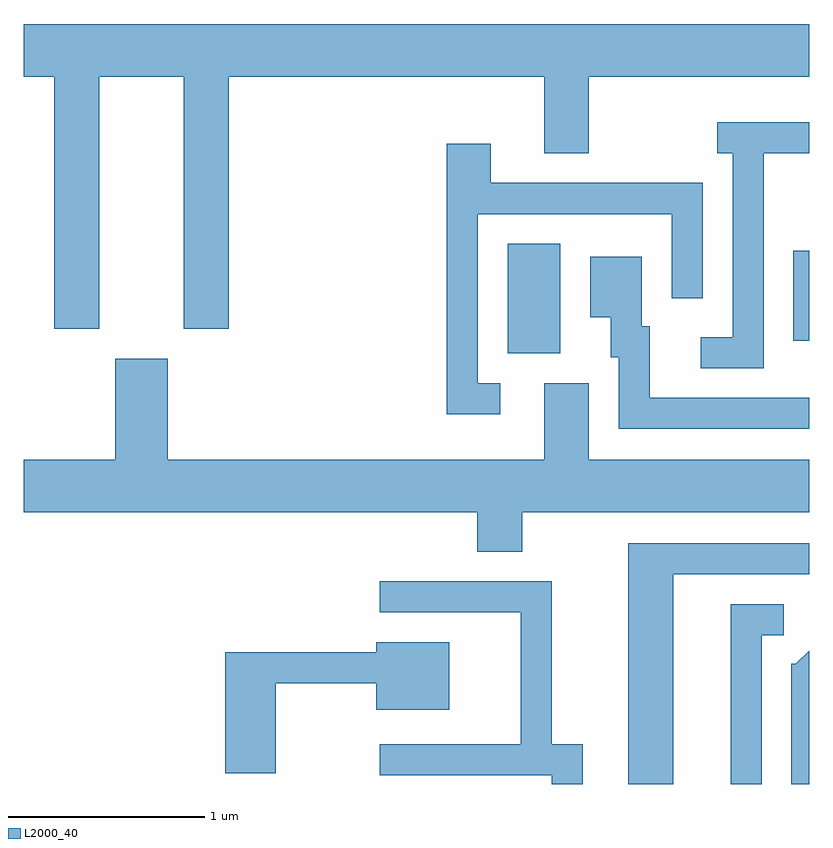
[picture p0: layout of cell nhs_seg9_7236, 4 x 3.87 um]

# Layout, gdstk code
import gdstk
lib = gdstk.Library(unit=1e-6, precision=1e-09)
def R(c, l, rs):  # rectangles x0, y0, x1, y1
    for r in rs: c.add(gdstk.rectangle(r[:2], r[2:], *l))
def P(c, l, *ps):  # polygons
    for p in ps: c.add(gdstk.Polygon(p, *l))
L2000_40 = (2000, 40)

nhs_seg9_7236 = lib.new_cell('nhs_seg9_7236')
R(nhs_seg9_7236, L2000_40, [(402.076,1992.626,402.344,1993.184), (403.531,1992.691,403.611,1993.149)])
P(nhs_seg9_7236, L2000_40, [(399.994,1994.036),(400.426,1994.036),(400.426,1992.751),(400.654,1992.751),(400.654,1994.036),(402.261,1994.036),(402.261,1993.646),(402.489,1993.646),(402.489,1994.036),(403.611,1994.036),(403.611,1994.304),(399.611,1994.304),(399.611,1994.036),(399.766,1994.036),(399.766,1992.751),(399.994,1992.751)],
  [(403.379,1993.646),(403.611,1993.646),(403.611,1993.804),(403.143,1993.804),(403.143,1993.646),(403.221,1993.646),(403.221,1992.709),(403.058,1992.709),(403.058,1992.551),(403.379,1992.551)],
  [(402.038,1992.474),(401.924,1992.474),(401.924,1993.336),(402.911,1993.336),(402.911,1992.908),(403.069,1992.908),(403.069,1993.494),(401.989,1993.494),(401.989,1993.694),(401.766,1993.694),(401.766,1992.316),(402.038,1992.316)],
  [(403.611,1992.399),(402.799,1992.399),(402.799,1992.764),(402.759,1992.764),(402.759,1993.119),(402.496,1993.119),(402.496,1992.811),(402.601,1992.811),(402.601,1992.606),(402.641,1992.606),(402.641,1992.241),(403.611,1992.241)],
  [(402.149,1991.816),(403.611,1991.816),(403.611,1992.084),(402.489,1992.084),(402.489,1992.474),(402.261,1992.474),(402.261,1992.084),(400.344,1992.084),(400.344,1992.599),(400.076,1992.599),(400.076,1992.084),(399.611,1992.084),(399.611,1991.816),(401.921,1991.816),(401.921,1991.616),(402.149,1991.616)],
  [(402.919,1991.501),(403.611,1991.501),(403.611,1991.659),(402.691,1991.659),(402.691,1990.432),(402.919,1990.432)],
  [(402.459,1990.634),(402.299,1990.634),(402.299,1991.464),(401.423,1991.464),(401.423,1991.306),(402.141,1991.306),(402.141,1990.634),(401.423,1990.634),(401.423,1990.476),(402.301,1990.476),(402.301,1990.432),(402.459,1990.432)],
  [(403.369,1991.191),(403.483,1991.191),(403.483,1991.349),(403.211,1991.349),(403.211,1990.432),(403.369,1990.432)],
  [(400.894,1990.946),(401.406,1990.946),(401.406,1990.811),(401.779,1990.811),(401.779,1991.154),(401.406,1991.154),(401.406,1991.104),(400.636,1991.104),(400.636,1990.486),(400.894,1990.486)],
  [(403.611,1991.111),(403.544,1991.044),(403.521,1991.044),(403.521,1990.432),(403.611,1990.432)])

lib.write_gds('nhs_seg9_7236.gds')
